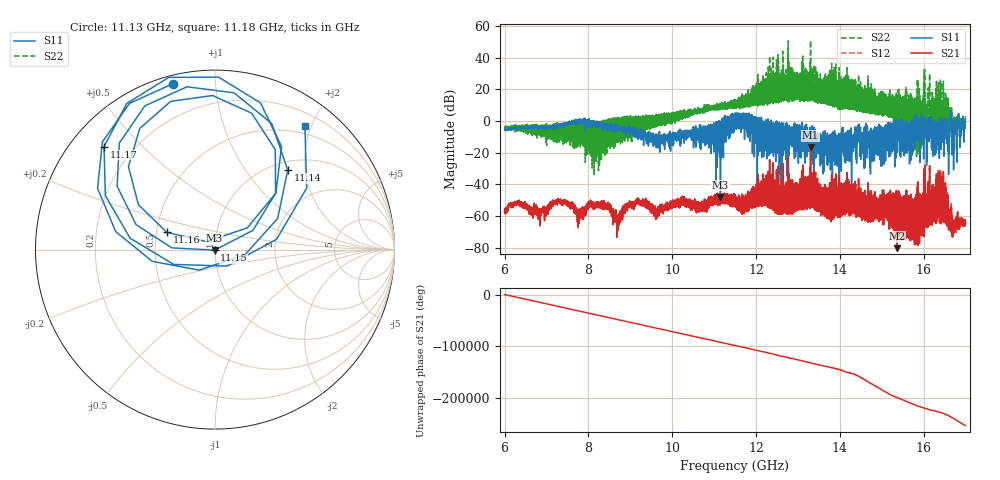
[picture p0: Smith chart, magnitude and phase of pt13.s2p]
#  HZ  S  RI  R  50.00
! Rohde & Schwarz Vector Network Analyzer
! Rohde-Schwarz,ZNA67-2Port,1332450062101215,3.01
! Created: UTC 10/15/2026, 1:58:05 PM
! freq[Hz]  re:S11  im:S11  re:S21  im:S21  re:S12  im:S12  re:S22  im:S22
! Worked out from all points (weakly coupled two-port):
!   11001 points, 6 GHz to 17 GHz, reference 50 ohm
!   highest |S21| = -16.52 dB at 13.3 GHz (marker M1); lowest = -80.5 dB at 15.37 GHz (marker M2)
!   lowest |S11| = -48.0 dB at 11.15 GHz (marker M3), VSWR 1.01, Z = 49.8 - j0.311 ohm
!   |S11| at or under -10 dB: 9.829022 GHz to 9.868971 GHz (39.95 MHz wide, 0.406 % of centre); 13.6518 GHz to 13.69097 GHz (39.17 MHz wide, 0.287 % of centre); 13.71979 GHz to 13.76978 GHz (49.99 MHz wide, 0.364 % of centre) (the widest 3 of 481)
!   |S22| runs from -33.8 to 50.9 dB; largest |S21 - S12| = 0.0062
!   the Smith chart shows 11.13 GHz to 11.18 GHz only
!   S11 on the Smith chart (normalised r, x): 11.13 GHz: 0.04, +0.78; 11.14 GHz: 1.16, +1.61; 11.15 GHz: 1.00, -0.01; 11.16 GHz: 0.57, +0.12; 11.17 GHz: 0.10, +0.39; 11.18 GHz: 0.38, +1.90
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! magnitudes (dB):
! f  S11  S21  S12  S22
! 6 GHz  -5.3  -56.5  -56.7  -5.0
! 7.276 GHz  -3.4  -49.1  -49.0  -3.4
! 7.834 GHz  -0.5  -56.4  -56.4  -8.2
! 8.358 GHz  -2.3  -53.1  -52.9  -16.0
! 8.714 GHz  -5.8  -63.4  -63.3  1.9
! 9.175 GHz  -6.8  -51.2  -51.0  -8.5
! 9.667 GHz  -10.5  -57.2  -57.2  -1.5
! 11.13 GHz  -0.4  -48.2  -48.0  9.8
! 11.14 GHz  -4.4  -49.6  -49.4  8.2
! 11.15 GHz  -48.0  -52.2  -52.2  7.9
! 11.16 GHz  -10.9  -50.7  -50.6  9.4
! 11.17 GHz  -1.5  -51.3  -51.3  7.8
! 11.18 GHz  -1.4  -49.9  -49.8  9.6
! 11.5 GHz  4.7  -54.2  -54.2  9.4
! 13.3 GHz  -13.2  -16.5  -16.4  50.9
! 13.33 GHz  -6.7  -51.1  -51.0  16.3
! 13.89 GHz  -8.0  -57.7  -57.6  10.9
! 15.17 GHz  -9.6  -56.8  -56.7  8.1
! 15.37 GHz  -10.0  -80.5  -80.3  -0.2
! 16.35 GHz  -1.4  -60.4  -60.2  -5.3
! 16.71 GHz  -5.0  -67.3  -66.8  1.6
! 17 GHz  2.4  -64.2  -63.2  -0.3
